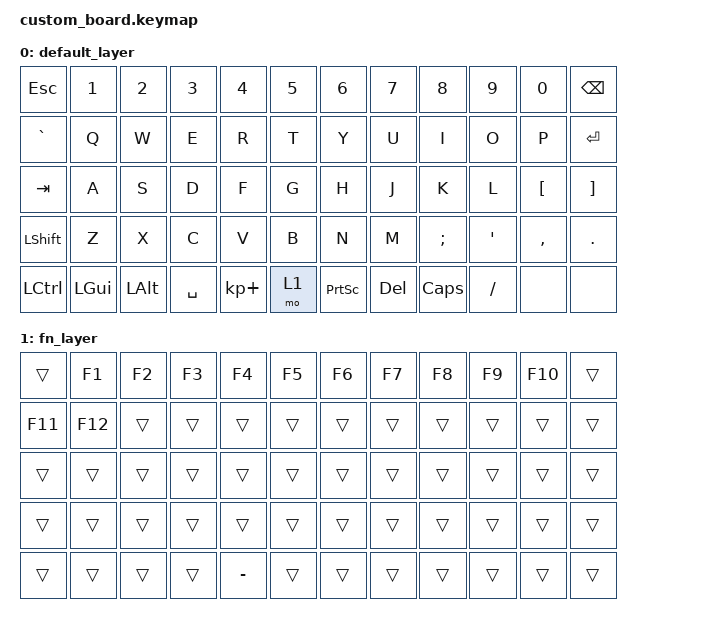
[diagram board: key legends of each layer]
#include <behaviors.dtsi>
#include <dt-bindings/zmk/keys.h>
#include <dt-bindings/zmk/bt.h>

/ {
    keymap {
        compatible = "zmk,keymap";

        default_layer {
            bindings = <
                // Row 0
                &kp ESC    &kp N1    &kp N2   &kp N3    &kp N4       &kp N5    &kp N6   &kp N7    &kp N8    &kp N9    &kp N0    &kp BSPC
                // Row 1
                &kp GRAVE  &kp Q     &kp W    &kp E     &kp R        &kp T     &kp Y    &kp U     &kp I     &kp O     &kp P     &kp RET
                // Row 2
                &kp TAB    &kp A     &kp S    &kp D     &kp F        &kp G     &kp H    &kp J     &kp K     &kp L     &kp LBKT  &kp RBKT
                // Row 3
                &kp LSHFT  &kp Z     &kp X    &kp C     &kp V        &kp B     &kp N    &kp M     &kp SEMI  &kp SQT   &kp COMMA &kp DOT
                // Row 4
                &kp LCTRL  &kp LGUI  &kp LALT &kp SPACE &kp KP_PLUS  &mo 1     &kp PSCRN &kp DEL  &kp CLCK  &kp FSLH  &none     &none
            >;
        };

        fn_layer {
            bindings = <
                // Row 0: 1-9 tampa F1-F9, 0 tampa F10
                &trans     &kp F1    &kp F2   &kp F3    &kp F4       &kp F5    &kp F6   &kp F7    &kp F8    &kp F9    &kp F10   &trans
                // Row 1: ~ tampa F11, Q tampa F12
                &kp F11    &kp F12   &trans   &trans    &trans       &trans    &trans   &trans    &trans    &trans    &trans    &trans
                // Row 2
                &trans     &trans    &trans   &trans    &trans       &trans    &trans   &trans    &trans    &trans    &trans    &trans
                // Row 3
                &trans     &trans    &trans   &trans    &trans       &trans    &trans   &trans    &trans    &trans    &trans    &trans
                // Row 4: + tampa -
                &trans     &trans    &trans   &trans    &kp MINUS    &trans    &trans   &trans    &trans    &trans    &trans    &trans
            >;
        };
    };
};
